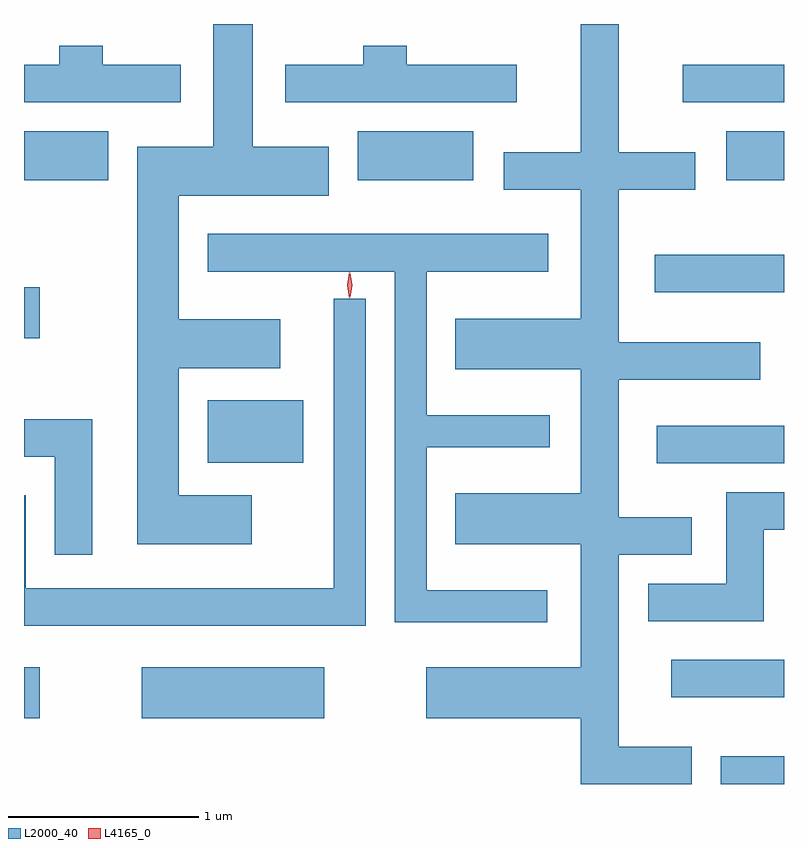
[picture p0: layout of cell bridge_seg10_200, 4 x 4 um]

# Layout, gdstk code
import gdstk
lib = gdstk.Library(unit=1e-6, precision=1e-09)
def R(c, l, rs):  # rectangles x0, y0, x1, y1
    for r in rs: c.add(gdstk.rectangle(r[:2], r[2:], *l))
def P(c, l, *ps):  # polygons
    for p in ps: c.add(gdstk.Polygon(p, *l))
L2000_40 = (2000, 40)
L4165_0 = (4165, 0)

bridge_seg10_200 = lib.new_cell('bridge_seg10_200')
R(bridge_seg10_200, L2000_40, [(1796.826,2139.619,1797.16,2139.764), (1793.16,2139.966,1793.244,2140.234), (1793.781,2139.966,1794.739,2140.234), (1796.566,2140.076,1797.16,2140.274), (1796.491,2141.306,1797.16,2141.504), (1794.126,2141.311,1794.629,2141.639), (1793.16,2141.966,1793.244,2142.234), (1796.481,2142.206,1797.16,2142.404), (1793.16,2142.796,1793.604,2143.054), (1794.916,2142.796,1795.524,2143.054), (1796.856,2142.796,1797.16,2143.054), (1796.626,2143.206,1797.16,2143.404)])
P(bridge_seg10_200, L2000_40, [(1796.674,2139.814),(1796.289,2139.814),(1796.289,2140.826),(1796.674,2140.826),(1796.674,2141.024),(1796.289,2141.024),(1796.289,2141.746),(1797.034,2141.746),(1797.034,2141.944),(1796.289,2141.944),(1796.289,2142.746),(1796.694,2142.746),(1796.694,2142.944),(1796.289,2142.944),(1796.289,2143.619),(1796.091,2143.619),(1796.091,2142.944),(1795.686,2142.944),(1795.686,2142.746),(1796.091,2142.746),(1796.091,2142.069),(1795.431,2142.069),(1795.431,2141.801),(1796.091,2141.801),(1796.091,2141.149),(1795.431,2141.149),(1795.431,2140.881),(1796.091,2140.881),(1796.091,2140.234),(1795.276,2140.234),(1795.276,2139.966),(1796.091,2139.966),(1796.091,2139.619),(1796.674,2139.619)],
  [(1794.359,2141.139),(1793.974,2141.139),(1793.974,2141.806),(1794.509,2141.806),(1794.509,2142.064),(1793.974,2142.064),(1793.974,2142.716),(1794.764,2142.716),(1794.764,2142.974),(1794.364,2142.974),(1794.364,2143.619),(1794.156,2143.619),(1794.156,2142.974),(1793.756,2142.974),(1793.756,2140.881),(1794.359,2140.881)],
  [(1793.984,2143.404),(1793.574,2143.404),(1793.574,2143.504),(1793.346,2143.504),(1793.346,2143.404),(1793.16,2143.404),(1793.16,2143.206),(1793.984,2143.206)],
  [(1795.754,2143.404),(1795.174,2143.404),(1795.174,2143.504),(1794.946,2143.504),(1794.946,2143.404),(1794.536,2143.404),(1794.536,2143.206),(1795.754,2143.206)],
  [(1795.913,2140.639),(1795.279,2140.639),(1795.279,2141.391),(1795.928,2141.391),(1795.928,2141.559),(1795.279,2141.559),(1795.279,2142.316),(1795.919,2142.316),(1795.919,2142.514),(1794.126,2142.514),(1794.126,2142.316),(1795.111,2142.316),(1795.111,2140.471),(1795.913,2140.471)],
  [(1794.959,2142.173),(1794.791,2142.173),(1794.791,2140.649),(1793.169,2140.649),(1793.169,2141.139),(1793.16,2141.139),(1793.16,2140.451),(1794.959,2140.451)],
  [(1793.519,2141.539),(1793.16,2141.539),(1793.16,2141.341),(1793.321,2141.341),(1793.321,2140.826),(1793.519,2140.826)],
  [(1797.054,2140.956),(1797.16,2140.956),(1797.16,2141.154),(1796.856,2141.154),(1796.856,2140.674),(1796.446,2140.674),(1796.446,2140.476),(1797.054,2140.476)])
P(bridge_seg10_200, L4165_0, [(1794.876,2142.178),(1794.867,2142.244),(1794.877,2142.31),(1794.877,2142.311),(1794.878,2142.31),(1794.887,2142.244),(1794.877,2142.178),(1794.877,2142.178)],
  [(1794.872,2142.174),(1794.872,2142.175),(1794.862,2142.244),(1794.872,2142.313),(1794.872,2142.314),(1794.873,2142.313),(1794.882,2142.244),(1794.873,2142.175)])

lib.write_gds('bridge_seg10_200.gds')
